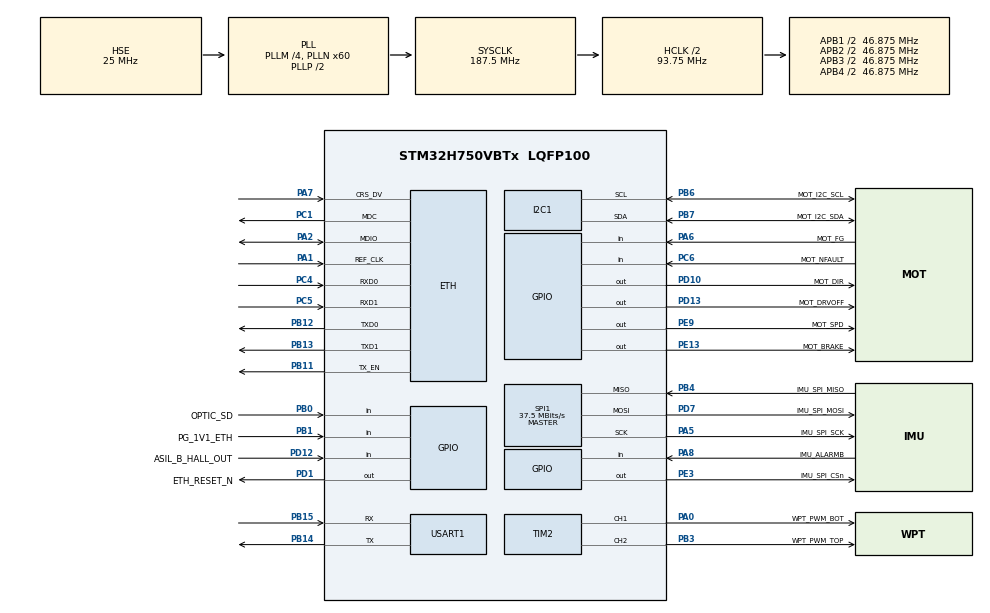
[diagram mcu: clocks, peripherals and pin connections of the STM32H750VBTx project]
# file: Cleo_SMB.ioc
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ETH.MediaInterface=HAL_ETH_RMII_MODE
I2C1.Timing=0x00B0CBFF
LWIP.BSP.number=1
LWIP.LWIP_DHCP=0
LWIP.Version=v2.1.2_Cube
LWIP0.BSP.STBoard=false
LWIP0.BSP.api=BSP_COMPONENT_DRIVER
LWIP0.BSP.component=LAN8742
LWIP0.BSP.instance=LAN8742
LWIP0.BSP.name=Driver_PHY
LWIP0.BSP.semaphore=S_LAN8742
LWIP0.BSP.solution=LAN8742
Mcu.Family=STM32H7
Mcu.Name=STM32H750VBTx
Mcu.Package=LQFP100
NVIC.PriorityGroup=NVIC_PRIORITYGROUP_4
PA0.GPIO_Label=WPT_PWM_BOT 
PA0.GPIO_Speed=GPIO_SPEED_FREQ_VERY_HIGH
PA0.Signal=S_TIM2_CH1_ETR
PA1.GPIO_Speed=GPIO_SPEED_FREQ_VERY_HIGH
PA1.Mode=RMII
PA1.Signal=ETH_REF_CLK
PA13\ (JTMS/SWDIO).Mode=Serial_Wire
PA13\ (JTMS/SWDIO).Signal=DEBUG_JTMS-SWDIO
PA14\ (JTCK/SWCLK).Mode=Serial_Wire
PA14\ (JTCK/SWCLK).Signal=DEBUG_JTCK-SWCLK
PA2.GPIO_Speed=GPIO_SPEED_FREQ_VERY_HIGH
PA2.Mode=RMII
PA2.Signal=ETH_MDIO
PA5.GPIO_Label=IMU_SPI_SCK 
PA5.GPIO_Speed=GPIO_SPEED_FREQ_VERY_HIGH
PA5.Mode=Full_Duplex_Master
PA5.Signal=SPI1_SCK
PA6.GPIO_Label=MOT_FG 
PA6.Signal=GPIO_Input
PA7.GPIO_Speed=GPIO_SPEED_FREQ_VERY_HIGH
PA7.Mode=RMII
PA7.Signal=ETH_CRS_DV
PA8.GPIO_Label=IMU_ALARMB 
PA8.Signal=GPIO_Input
PB0.GPIO_Label=OPTIC_SD 
PB0.Signal=GPIO_Input
PB1.GPIO_Label=PG_1V1_ETH 
PB1.Signal=GPIO_Input
PB11.GPIO_Speed=GPIO_SPEED_FREQ_VERY_HIGH
PB11.Mode=RMII
PB11.Signal=ETH_TX_EN
PB12.GPIO_Speed=GPIO_SPEED_FREQ_VERY_HIGH
PB12.Mode=RMII
PB12.Signal=ETH_TXD0
PB13.GPIO_Speed=GPIO_SPEED_FREQ_VERY_HIGH
PB13.Mode=RMII
PB13.Signal=ETH_TXD1
PB14.Mode=Asynchronous
PB14.Signal=USART1_TX
PB15.Mode=Asynchronous
PB15.Signal=USART1_RX
PB3\ (JTDO/TRACESWO).GPIO_Label=WPT_PWM_TOP 
PB3\ (JTDO/TRACESWO).GPIO_Speed=GPIO_SPEED_FREQ_VERY_HIGH
PB3\ (JTDO/TRACESWO).Signal=S_TIM2_CH2
PB4\ (NJTRST).GPIO_Label=IMU_SPI_MISO 
PB4\ (NJTRST).Mode=Full_Duplex_Master
PB4\ (NJTRST).Signal=SPI1_MISO
PB6.GPIO_Label=MOT_I2C_SCL 
PB6.GPIO_Speed=GPIO_SPEED_FREQ_VERY_HIGH
PB6.Mode=I2C
PB6.Signal=I2C1_SCL
PB7.GPIO_Label=MOT_I2C_SDA 
PB7.GPIO_Speed=GPIO_SPEED_FREQ_VERY_HIGH
PB7.Mode=I2C
PB7.Signal=I2C1_SDA
PC1.GPIO_Speed=GPIO_SPEED_FREQ_VERY_HIGH
PC1.Mode=RMII
PC1.Signal=ETH_MDC
PC4.GPIO_Speed=GPIO_SPEED_FREQ_VERY_HIGH
PC4.Mode=RMII
PC4.Signal=ETH_RXD0
PC5.GPIO_Speed=GPIO_SPEED_FREQ_VERY_HIGH
PC5.Mode=RMII
PC5.Signal=ETH_RXD1
PC6.GPIO_Label=MOT_NFAULT 
PC6.Signal=GPIO_Input
PD1.GPIO_Label=ETH_RESET_N 
PD1.PinState=GPIO_PIN_SET
PD1.Signal=GPIO_Output
PD10.GPIO_Label=MOT_DIR 
PD10.PinState=GPIO_PIN_RESET
PD10.Signal=GPIO_Output
PD12.GPIO_Label=ASIL_B_HALL_OUT 
PD12.Signal=GPIO_Input
PD13.GPIO_Label=MOT_DRVOFF 
PD13.PinState=GPIO_PIN_SET
PD13.Signal=GPIO_Output
PD7.GPIO_Label=IMU_SPI_MOSI 
PD7.Mode=Full_Duplex_Master
PD7.Signal=SPI1_MOSI
PE13.GPIO_Label=MOT_BRAKE 
PE13.Signal=GPIO_Output
PE3.GPIO_Label=IMU_SPI_CSn 
PE3.GPIO_Speed=GPIO_SPEED_FREQ_VERY_HIGH
PE3.PinState=GPIO_PIN_RESET
PE3.Signal=GPIO_Output
PE9.GPIO_Label=MOT_SPD 
PE9.GPIO_Speed=GPIO_SPEED_FREQ_VERY_HIGH
PE9.Signal=GPIO_Output
PH0-OSC_IN\ (PH0).Mode=HSE-External-Clock-Source
PH0-OSC_IN\ (PH0).Signal=RCC_OSC_IN
ProjectManager.HeapSize=0x200
ProjectManager.StackSize=0x400
ProjectManager.TargetToolchain=STM32CubeIDE
RCC.ADCFreq_Value=50390625
RCC.APB1Freq_Value=46875000
RCC.APB2Freq_Value=46875000
RCC.APB3Freq_Value=46875000
RCC.APB4Freq_Value=46875000
RCC.CortexFreq_Value=187500000
RCC.D1PPRE=RCC_APB3_DIV2
RCC.D2PPRE1=RCC_APB1_DIV2
RCC.D2PPRE2=RCC_APB2_DIV2
RCC.D3PPRE=RCC_APB4_DIV2
RCC.DIVM1=4
RCC.DIVN1=60
RCC.DIVQ1=5
RCC.HCLKFreq_Value=93750000
RCC.HPRE=RCC_HCLK_DIV2
RCC.PLL1_VCI_Range-AdvancedSettings=RCC_PLL1VCIRANGE_0
RCC.PLL2FRACN=0
RCC.PLL2_VCO_SEL-AdvancedSettings=RCC_PLL2VCOMEDIUM
RCC.PLL3FRACN=0
RCC.PLL3_VCO_SEL-AdvancedSettings=RCC_PLL3VCOMEDIUM
RCC.PLLFRACN=0
RCC.PLLSourceVirtual=RCC_PLLSOURCE_HSE
RCC.SYSCLKFreq_VALUE=187500000
RCC.SYSCLKSource=RCC_SYSCLKSOURCE_PLLCLK
RCC.USBFreq_Value=75000000
SH.S_TIM2_CH1_ETR.0=TIM2_CH1,PWM Generation1 CH1
SH.S_TIM2_CH2.0=TIM2_CH2,PWM Generation2 CH2
SPI1.CalculateBaudRate=37.5 MBits/s
SPI1.Direction=SPI_DIRECTION_2LINES
SPI1.Mode=SPI_MODE_MASTER
SPI1.VirtualType=VM_MASTER
TIM2.Channel-PWM\ Generation1\ CH1=TIM_CHANNEL_1
TIM2.Channel-PWM\ Generation2\ CH2=TIM_CHANNEL_2
USART1.VirtualMode-Asynchronous=VM_ASYNC
VP_LWIP_VS_Enabled.Mode=Enabled
VP_MEMORYMAP_VS_MEMORYMAP.Mode=CurAppReg
board=custom

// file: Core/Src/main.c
/* USER CODE BEGIN Header */
/**
  ******************************************************************************
  * @file           : main.c
  * @brief          : Main program body
  ******************************************************************************
  * @attention
  *
  * Copyright (c) 2026 STMicroelectronics.
  * All rights reserved.
  *
  * This software is licensed under terms that can be found in the LICENSE file
  * in the root directory of this software component.
  * If no LICENSE file comes with this software, it is provided AS-IS.
  *
  ******************************************************************************
  */
/* USER CODE END Header */
#include "main.h"
#include "lwip.h"

/* USER CODE BEGIN Includes */
#include "lwip/netif.h"
#include "lwip/udp.h"
#include "lwip/ip_addr.h"
#include "gsw145.h"
#include <stdio.h>
#include <string.h>
/* USER CODE END Includes */

/* USER CODE BEGIN PD */

/* UDP bring-up test. The local address is set in LWIP/App/lwip.c
   (USER CODE BEGIN IP_ADDRESSES); the peer must be on the same subnet so that
   normal ARP can resolve it. */
#define UDP_PEER_ADDR0            192
#define UDP_PEER_ADDR1            168
#define UDP_PEER_ADDR2            1
#define UDP_PEER_ADDR3            2
#define UDP_PEER_PORT             8000U
#define UDP_SEND_INTERVAL_MS      1000U

/* USER CODE END PD */

I2C_HandleTypeDef hi2c1;

SPI_HandleTypeDef hspi1;

TIM_HandleTypeDef htim2;

UART_HandleTypeDef huart1;

/* USER CODE BEGIN PV */

extern struct netif gnetif;   /* defined in LWIP/App/lwip.c */

static struct udp_pcb *g_udp_pcb;
static ip_addr_t       g_peer_ip;

/* Console state: which RJ45 port the TPG commands act on, and whether it is
   currently running so 'g' and 's' cannot get out of step. */
static uint8_t g_tpg_port    = 0U;
static uint8_t g_tpg_running = 0U;

/* USER CODE END PV */

void SystemClock_Config(void);
static void MX_GPIO_Init(void);
static void MX_I2C1_Init(void);
static void MX_SPI1_Init(void);
static void MX_TIM2_Init(void);
static void MX_USART1_UART_Init(void);

/* USER CODE BEGIN 0 */

/**
  * @brief  Retarget printf to USART1. Overrides the weak _write in syscalls.c.
  */
int _write(int file, char *ptr, int len)
{
  (void)file;
  HAL_UART_Transmit(&huart1, (uint8_t *)ptr, (uint16_t)len, 100U);
  return len;
}

/**
  * @brief  Create the UDP socket used by the bring-up test.
  *
  * No static ARP entry is installed. With a real local address on the same
  * subnet (see LWIP/App/lwip.c) the switch forwards the ARP broadcast and the
  * peer answers normally, which also means a peer that reboots or changes NIC
  * still works - unlike a hard-coded MAC.
  */
static void UDP_Test_Init(void)
{
  g_udp_pcb = udp_new();
  if (g_udp_pcb == NULL)
  {
    printf("[UDP] udp_new failed\r\n");
    return;
  }

  IP4_ADDR(ip_2_ip4(&g_peer_ip), UDP_PEER_ADDR0, UDP_PEER_ADDR1,
           UDP_PEER_ADDR2, UDP_PEER_ADDR3);

  if (udp_connect(g_udp_pcb, &g_peer_ip, UDP_PEER_PORT) != ERR_OK)
  {
    printf("[UDP] udp_connect failed\r\n");
    udp_remove(g_udp_pcb);
    g_udp_pcb = NULL;
  }
}

/**
  * @brief  Send one test datagram, reporting what actually happened.
  */
static void UDP_Test_Send(void)
{
  static const char msg[] = "hello world_samsung\r\n";
  struct pbuf *p;
  err_t err;

  /* 어디서 튕겨 나가는지 디버그 출력 추가 */
  if (g_udp_pcb == NULL)
  {
    printf("[UDP] Fail: g_udp_pcb is NULL\r\n");
    return;
  }
  if (!netif_is_link_up(&gnetif))
  {
    printf("[UDP] Fail: Link is DOWN\r\n");
    return;
  }
  if (!netif_is_up(&gnetif))
  {
    printf("[UDP] Fail: Netif is NOT UP\r\n");
    return;
  }

  p = pbuf_alloc(PBUF_TRANSPORT, (u16_t)(sizeof(msg) - 1U), PBUF_RAM);
  if (p == NULL)
  {
    printf("[UDP] Fail: pbuf_alloc failed\r\n");
    return;
  }

  memcpy(p->payload, msg, sizeof(msg) - 1U);
  err = udp_send(g_udp_pcb, p);
  pbuf_free(p);

  if (err == ERR_OK)
  {
    printf("[UDP] Send Success!\r\n"); /* 성공 시 PuTTY에 출력 */
  }
  else
  {
    printf("[UDP] Send failed, err=%d\r\n", (int)err);
  }
}

/**
  * @brief  Print the console's command list.
  */
static void Console_Help(void)
{
  printf("\r\n--- commands ---\r\n");
  printf("  0-3  select RJ45 port (now: %u)\r\n", (unsigned)g_tpg_port);
  printf("  g    start 1G traffic generator on the selected port\r\n");
  printf("  s    stop it\r\n");
  printf("  l    link status of all RJ45 ports\r\n");
  printf("  h    this list\r\n\r\n");
}

/**
  * @brief  Report the negotiated link on every internal GPHY port.
  */
static void Console_ShowLinks(void)
{
  uint16_t speed;
  uint8_t fdx;
  uint8_t port;

  printf("\r\n--- RJ45 link status ---\r\n");
  for (port = 0U; port < GSW145_GPHY_PORT_COUNT; port++)
  {
    if (GSW145_GetPortLink(port, &speed, &fdx) != HAL_OK)
    {
      printf("  port %u : read failed\r\n", (unsigned)port);
    }
    else if (speed == 0U)
    {
      printf("  port %u : no link\r\n", (unsigned)port);
    }
    else
    {
      printf("  port %u : %u Mbps %s\r\n", (unsigned)port, (unsigned)speed,
             fdx ? "full duplex" : "HALF duplex");
    }
  }
  printf("\r\n");
}

/**
  * @brief  Pull one character from USART1 without blocking.
  * @retval The character, or -1 when nothing has arrived.
  */
static int Console_ReadChar(void)
{
  /* An overrun latches ORE and stops further reception until cleared, which
     is easy to hit while the TPG log is being printed. */
  if (__HAL_UART_GET_FLAG(&huart1, UART_FLAG_ORE) != RESET)
  {
    __HAL_UART_CLEAR_OREFLAG(&huart1);
  }
  if (__HAL_UART_GET_FLAG(&huart1, UART_FLAG_RXNE) == RESET)
  {
    return -1;
  }
  return (int)(uint8_t)(huart1.Instance->RDR & 0xFFU);
}

/**
  * @brief  Handle one console keystroke, if any is waiting.
  */
static void Console_Poll(void)
{
  int c = Console_ReadChar();

  if (c < 0)
  {
    return;
  }

  switch (c)
  {
    case '0': case '1': case '2': case '3':
      g_tpg_port = (uint8_t)(c - '0');
      printf("[cmd] port %u selected\r\n", (unsigned)g_tpg_port);
      break;

    case 'g': case 'G':
      if (g_tpg_running != 0U)
      {
        printf("[cmd] already running on port %u\r\n", (unsigned)g_tpg_port);
        break;
      }
      if (GSW145_TpgStart(g_tpg_port) == HAL_OK)
      {
        g_tpg_running = 1U;
      }
      break;

    case 's': case 'S':
      if (g_tpg_running == 0U)
      {
        printf("[cmd] not running\r\n");
        break;
      }
      (void)GSW145_TpgStop(g_tpg_port);
      g_tpg_running = 0U;
      break;

    case 'l': case 'L':
      Console_ShowLinks();
      break;

    case 'h': case 'H': case '?':
      Console_Help();
      break;

    default:
      break;   /* ignore CR, LF and anything else */
  }
}

/* USER CODE END 0 */

int main(void)
{

  /* MCU Configuration--------------------------------------------------------*/

  /* Reset of all peripherals, Initializes the Flash interface and the Systick. */
  HAL_Init();

  /* Configure the system clock */
  SystemClock_Config();

  /* Initialize all configured peripherals */
  MX_GPIO_Init();
  MX_I2C1_Init();
  MX_SPI1_Init();
  MX_TIM2_Init();
  MX_USART1_UART_Init();
  MX_LWIP_Init();
  /* USER CODE BEGIN 2 */

  /* The GSW145 is brought up from inside MX_LWIP_Init(), in the MACADDRESS hook
     of LWIP/Target/ethernetif.c, because it has to happen before HAL_ETH_Init().
     Its progress is already on the console by this point. */
  printf("\r\n=== STM32H750 + GSW145 MAC-to-MAC ===\r\n");
  printf("[NET] ip=%s link=%s\r\n",
         ip4addr_ntoa(netif_ip4_addr(&gnetif)),
         netif_is_link_up(&gnetif) ? "up" : "DOWN");

  UDP_Test_Init();
  Console_Help();

  /* USER CODE END 2 */

  /* Infinite loop */
  /* USER CODE BEGIN WHILE */
  uint32_t udp_tick = HAL_GetTick();

  while (1)
  {
    /* USER CODE END WHILE */

    /* USER CODE BEGIN 3 */

    /* Drains the RX DMA, runs the LwIP timers, and calls
       ethernet_link_check_state() every 100 ms (a no-op on this board). */
    MX_LWIP_Process();

    /* Non-blocking, so the LwIP polling above keeps its cadence. */
    Console_Poll();

    if ((HAL_GetTick() - udp_tick) >= UDP_SEND_INTERVAL_MS)
    {
      udp_tick = HAL_GetTick();
      UDP_Test_Send();
    }
  }
  /* USER CODE END 3 */
}

void SystemClock_Config(void)
{
  RCC_OscInitTypeDef RCC_OscInitStruct = {0};
  RCC_ClkInitTypeDef RCC_ClkInitStruct = {0};

  /** Supply configuration update enable
  */
  HAL_PWREx_ConfigSupply(PWR_LDO_SUPPLY);

  /** Configure the main internal regulator output voltage
  */
  __HAL_PWR_VOLTAGESCALING_CONFIG(PWR_REGULATOR_VOLTAGE_SCALE3);

  while(!__HAL_PWR_GET_FLAG(PWR_FLAG_VOSRDY)) {}

  /** Initializes the RCC Oscillators according to the specified parameters
  * in the RCC_OscInitTypeDef structure.
  */
  RCC_OscInitStruct.OscillatorType = RCC_OSCILLATORTYPE_HSE;
  RCC_OscInitStruct.HSEState = RCC_HSE_BYPASS;
  RCC_OscInitStruct.PLL.PLLState = RCC_PLL_ON;
  RCC_OscInitStruct.PLL.PLLSource = RCC_PLLSOURCE_HSE;
  RCC_OscInitStruct.PLL.PLLM = 4;
  RCC_OscInitStruct.PLL.PLLN = 60;
  RCC_OscInitStruct.PLL.PLLP = 2;
  RCC_OscInitStruct.PLL.PLLQ = 5;
  RCC_OscInitStruct.PLL.PLLR = 2;
  RCC_OscInitStruct.PLL.PLLRGE = RCC_PLL1VCIRANGE_2;
  RCC_OscInitStruct.PLL.PLLVCOSEL = RCC_PLL1VCOWIDE;
  RCC_OscInitStruct.PLL.PLLFRACN = 0;
  if (HAL_RCC_OscConfig(&RCC_OscInitStruct) != HAL_OK)
  {
    Error_Handler();
  }

  /** Initializes the CPU, AHB and APB buses clocks
  */
  RCC_ClkInitStruct.ClockType = RCC_CLOCKTYPE_HCLK|RCC_CLOCKTYPE_SYSCLK
                              |RCC_CLOCKTYPE_PCLK1|RCC_CLOCKTYPE_PCLK2
                              |RCC_CLOCKTYPE_D3PCLK1|RCC_CLOCKTYPE_D1PCLK1;
  RCC_ClkInitStruct.SYSCLKSource = RCC_SYSCLKSOURCE_PLLCLK;
  RCC_ClkInitStruct.SYSCLKDivider = RCC_SYSCLK_DIV1;
  RCC_ClkInitStruct.AHBCLKDivider = RCC_HCLK_DIV2;
  RCC_ClkInitStruct.APB3CLKDivider = RCC_APB3_DIV2;
  RCC_ClkInitStruct.APB1CLKDivider = RCC_APB1_DIV2;
  RCC_ClkInitStruct.APB2CLKDivider = RCC_APB2_DIV2;
  RCC_ClkInitStruct.APB4CLKDivider = RCC_APB4_DIV2;

  if (HAL_RCC_ClockConfig(&RCC_ClkInitStruct, FLASH_LATENCY_2) != HAL_OK)
  {
    Error_Handler();
  }
}

static void MX_I2C1_Init(void)
{

  hi2c1.Instance = I2C1;
  hi2c1.Init.Timing = 0x00B0CBFF;
  hi2c1.Init.OwnAddress1 = 0;
  hi2c1.Init.AddressingMode = I2C_ADDRESSINGMODE_7BIT;
  hi2c1.Init.DualAddressMode = I2C_DUALADDRESS_DISABLE;
  hi2c1.Init.OwnAddress2 = 0;
  hi2c1.Init.OwnAddress2Masks = I2C_OA2_NOMASK;
  hi2c1.Init.GeneralCallMode = I2C_GENERALCALL_DISABLE;
  hi2c1.Init.NoStretchMode = I2C_NOSTRETCH_DISABLE;
  if (HAL_I2C_Init(&hi2c1) != HAL_OK)
  {
    Error_Handler();
  }

  /** Configure Analogue filter
  */
  if (HAL_I2CEx_ConfigAnalogFilter(&hi2c1, I2C_ANALOGFILTER_ENABLE) != HAL_OK)
  {
    Error_Handler();
  }

  /** Configure Digital filter
  */
  if (HAL_I2CEx_ConfigDigitalFilter(&hi2c1, 0) != HAL_OK)
  {
    Error_Handler();
  }

}

static void MX_SPI1_Init(void)
{

  /* SPI1 parameter configuration*/
  hspi1.Instance = SPI1;
  hspi1.Init.Mode = SPI_MODE_MASTER;
  hspi1.Init.Direction = SPI_DIRECTION_2LINES;
  hspi1.Init.DataSize = SPI_DATASIZE_4BIT;
  hspi1.Init.CLKPolarity = SPI_POLARITY_LOW;
  hspi1.Init.CLKPhase = SPI_PHASE_1EDGE;
  hspi1.Init.NSS = SPI_NSS_SOFT;
  hspi1.Init.BaudRatePrescaler = SPI_BAUDRATEPRESCALER_2;
  hspi1.Init.FirstBit = SPI_FIRSTBIT_MSB;
  hspi1.Init.TIMode = SPI_TIMODE_DISABLE;
  hspi1.Init.CRCCalculation = SPI_CRCCALCULATION_DISABLE;
  hspi1.Init.CRCPolynomial = 0x0;
  hspi1.Init.NSSPMode = SPI_NSS_PULSE_ENABLE;
  hspi1.Init.NSSPolarity = SPI_NSS_POLARITY_LOW;
  hspi1.Init.FifoThreshold = SPI_FIFO_THRESHOLD_01DATA;
  hspi1.Init.TxCRCInitializationPattern = SPI_CRC_INITIALIZATION_ALL_ZERO_PATTERN;
  hspi1.Init.RxCRCInitializationPattern = SPI_CRC_INITIALIZATION_ALL_ZERO_PATTERN;
  hspi1.Init.MasterSSIdleness = SPI_MASTER_SS_IDLENESS_00CYCLE;
  hspi1.Init.MasterInterDataIdleness = SPI_MASTER_INTERDATA_IDLENESS_00CYCLE;
  hspi1.Init.MasterReceiverAutoSusp = SPI_MASTER_RX_AUTOSUSP_DISABLE;
  hspi1.Init.MasterKeepIOState = SPI_MASTER_KEEP_IO_STATE_DISABLE;
  hspi1.Init.IOSwap = SPI_IO_SWAP_DISABLE;
  if (HAL_SPI_Init(&hspi1) != HAL_OK)
  {
    Error_Handler();
  }

}

static void MX_TIM2_Init(void)
{

  TIM_MasterConfigTypeDef sMasterConfig = {0};
  TIM_OC_InitTypeDef sConfigOC = {0};

  htim2.Instance = TIM2;
  htim2.Init.Prescaler = 0;
  htim2.Init.CounterMode = TIM_COUNTERMODE_UP;
  htim2.Init.Period = 4294967295;
  htim2.Init.ClockDivision = TIM_CLOCKDIVISION_DIV1;
  htim2.Init.AutoReloadPreload = TIM_AUTORELOAD_PRELOAD_DISABLE;
  if (HAL_TIM_PWM_Init(&htim2) != HAL_OK)
  {
    Error_Handler();
  }
  sMasterConfig.MasterOutputTrigger = TIM_TRGO_RESET;
  sMasterConfig.MasterSlaveMode = TIM_MASTERSLAVEMODE_DISABLE;
  if (HAL_TIMEx_MasterConfigSynchronization(&htim2, &sMasterConfig) != HAL_OK)
  {
    Error_Handler();
  }
  sConfigOC.OCMode = TIM_OCMODE_PWM1;
  sConfigOC.Pulse = 0;
  sConfigOC.OCPolarity = TIM_OCPOLARITY_HIGH;
  sConfigOC.OCFastMode = TIM_OCFAST_DISABLE;
  if (HAL_TIM_PWM_ConfigChannel(&htim2, &sConfigOC, TIM_CHANNEL_1) != HAL_OK)
  {
    Error_Handler();
  }
  if (HAL_TIM_PWM_ConfigChannel(&htim2, &sConfigOC, TIM_CHANNEL_2) != HAL_OK)
  {
    Error_Handler();
  }
  HAL_TIM_MspPostInit(&htim2);

}

static void MX_USART1_UART_Init(void)
{

  huart1.Instance = USART1;
  huart1.Init.BaudRate = 115200;
  huart1.Init.WordLength = UART_WORDLENGTH_8B;
  huart1.Init.StopBits = UART_STOPBITS_1;
  huart1.Init.Parity = UART_PARITY_NONE;
  huart1.Init.Mode = UART_MODE_TX_RX;
  huart1.Init.HwFlowCtl = UART_HWCONTROL_NONE;
  huart1.Init.OverSampling = UART_OVERSAMPLING_16;
  huart1.Init.OneBitSampling = UART_ONE_BIT_SAMPLE_DISABLE;
  huart1.Init.ClockPrescaler = UART_PRESCALER_DIV1;
  huart1.AdvancedInit.AdvFeatureInit = UART_ADVFEATURE_NO_INIT;
  if (HAL_UART_Init(&huart1) != HAL_OK)
  {
    Error_Handler();
  }
  if (HAL_UARTEx_SetTxFifoThreshold(&huart1, UART_TXFIFO_THRESHOLD_1_8) != HAL_OK)
  {
    Error_Handler();
  }
  if (HAL_UARTEx_SetRxFifoThreshold(&huart1, UART_RXFIFO_THRESHOLD_1_8) != HAL_OK)
  {
    Error_Handler();
  }
  if (HAL_UARTEx_DisableFifoMode(&huart1) != HAL_OK)
  {
    Error_Handler();
  }

}

static void MX_GPIO_Init(void)
{
  GPIO_InitTypeDef GPIO_InitStruct = {0};

  /* GPIO Ports Clock Enable */
  __HAL_RCC_GPIOE_CLK_ENABLE();
  __HAL_RCC_GPIOH_CLK_ENABLE();
  __HAL_RCC_GPIOC_CLK_ENABLE();
  __HAL_RCC_GPIOA_CLK_ENABLE();
  __HAL_RCC_GPIOB_CLK_ENABLE();
  __HAL_RCC_GPIOD_CLK_ENABLE();

  /*Configure GPIO pin Output Level */
  HAL_GPIO_WritePin(GPIOE, IMU_SPI_CSn_Pin|MOT_SPD_Pin|MOT_BRAKE_Pin, GPIO_PIN_RESET);

  /*Configure GPIO pins : IMU_SPI_CSn_Pin MOT_SPD_Pin */
  GPIO_InitStruct.Pin = IMU_SPI_CSn_Pin|MOT_SPD_Pin;
  GPIO_InitStruct.Mode = GPIO_MODE_OUTPUT_PP;
  GPIO_InitStruct.Pull = GPIO_NOPULL;
  GPIO_InitStruct.Speed = GPIO_SPEED_FREQ_VERY_HIGH;
  HAL_GPIO_Init(GPIOE, &GPIO_InitStruct);

  /*Configure GPIO pin : MOT_BRAKE_Pin */
  GPIO_InitStruct.Pin = MOT_BRAKE_Pin;
  GPIO_InitStruct.Mode = GPIO_MODE_OUTPUT_PP;
  GPIO_InitStruct.Pull = GPIO_NOPULL;
  GPIO_InitStruct.Speed = GPIO_SPEED_FREQ_LOW;
  HAL_GPIO_Init(MOT_BRAKE_GPIO_Port, &GPIO_InitStruct);

}

void Error_Handler(void)
{
  __disable_irq();
  while (1)
  {
  }
}
